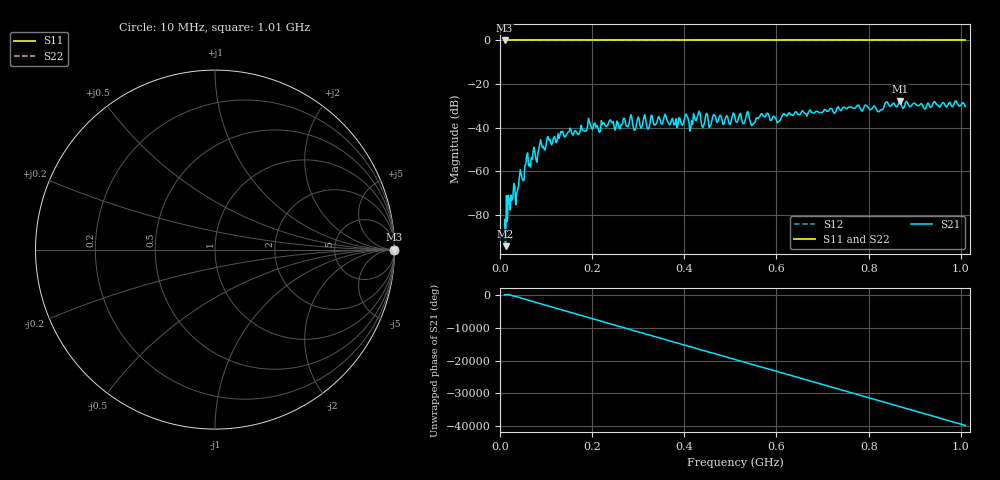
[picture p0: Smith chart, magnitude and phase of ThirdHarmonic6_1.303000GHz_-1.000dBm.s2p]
! 8/16/2025 2:21:23 PM
! C:\ANRITSUVNA\TEMP\TEMP.S2P
! CHANNEL.1
! TR.MEASUREMENT
! RAW.DATA
! RF.CORRECTION.OFF
! AVERAGING.OFF
! IF.BANDWIDTH: 5KHZ
! SWEEPTYPE:  FREQ.SWEEP(Linear)
! Reference Plane Port Info
! PORT:  PORT1  PORT2
! DISTANCE:  0  m  0  m
! TIME:  0  s  0  s
! PHASE.OFFSET:  0  deg.  0  deg.
! LOSS:  0  dB  0  dB
! REF.LOSS:  0  dB  0  dB
! REF.FREQ:  0  Hz  0  Hz
! Power Info
! POWER:  -20  dBm  -20  dBm
! EFF.POWER:  -20  dBm  -20  dBm
! SOURCE.ATTEN:  0  dB  0  dB
! TEST.ATTEN:  0  dB  0  dB
# GHZ S RI R 50.0
! FREQ.GHZ  S11RE  S11IM  S21RE  S21IM  S12RE  S12IM  S22RE  S22IM
!; PortSelection: Port_12
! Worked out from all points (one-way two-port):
!   501 points, 10 MHz to 1.01 GHz, reference 50 ohm
!   highest |S21| = -27.65 dB at 868 MHz (marker M1); lowest = -94.2 dB at 12 MHz (marker M2)
!   lowest |S11| = 0.0 dB at 10 MHz (marker M3)
!   |S11| at or under -10 dB: nowhere
!   |S22| runs from 0.0 to 0.0 dB; largest |S21 - S12| = 1
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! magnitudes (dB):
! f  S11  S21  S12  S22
! 10 MHz  0.0  -82.0  0.0  0.0
! 12 MHz  0.0  -94.2  0.0  0.0
! 38 MHz  0.0  -68.7  0.0  0.0
! 58 MHz  0.0  -52.4  0.0  0.0
! 80 MHz  0.0  -55.8  0.0  0.0
! 88 MHz  0.0  -45.5  0.0  0.0
! 178 MHz  0.0  -40.3  0.0  0.0
! 344 MHz  0.0  -34.8  0.0  0.0
! 382 MHz  0.0  -35.9  0.0  0.0
! 404 MHz  0.0  -33.7  0.0  0.0
! 414 MHz  0.0  -39.9  0.0  0.0
! 430 MHz  0.0  -33.8  0.0  0.0
! 440 MHz  0.0  -40.0  0.0  0.0
! 510 MHz  0.0  -35.3  0.0  0.0
! 538 MHz  0.0  -32.5  0.0  0.0
! 548 MHz  0.0  -38.9  0.0  0.0
! 568 MHz  0.0  -33.5  0.0  0.0
! 604 MHz  0.0  -37.1  0.0  0.0
! 678 MHz  0.0  -32.9  0.0  0.0
! 844 MHz  0.0  -29.7  0.0  0.0
! 868 MHz  0.0  -27.6  0.0  0.0
! 1.01 GHz  0.0  -30.3  0.0  0.0
